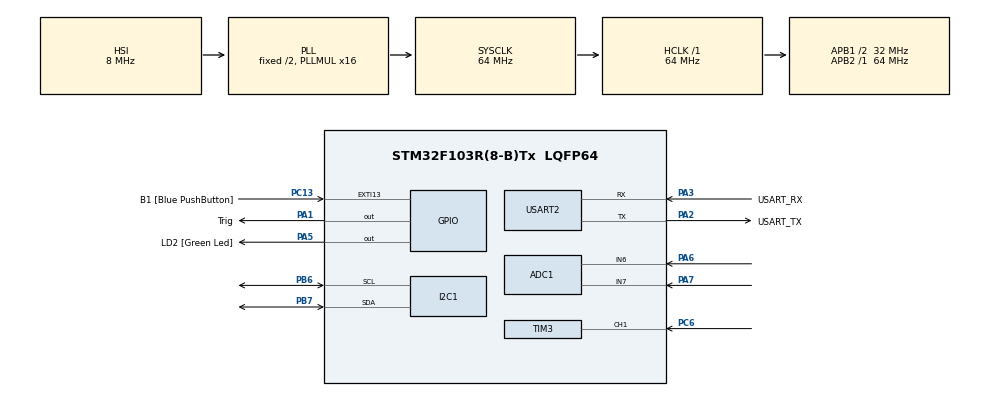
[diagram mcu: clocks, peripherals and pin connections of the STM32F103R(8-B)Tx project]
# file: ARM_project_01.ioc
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ADC1.Channel-3\#ChannelRegularConversion=ADC_CHANNEL_6
ADC1.ContinuousConvMode=DISABLE
ADC1.NbrOfConversionFlag=1
ADC1.Rank-3\#ChannelRegularConversion=1
ADC1.SamplingTime-3\#ChannelRegularConversion=ADC_SAMPLETIME_28CYCLES_5
ADC1.master=1
Dma.ADC1.0.Direction=DMA_PERIPH_TO_MEMORY
Dma.ADC1.0.Instance=DMA1_Channel1
Dma.ADC1.0.MemDataAlignment=DMA_MDATAALIGN_WORD
Dma.ADC1.0.MemInc=DMA_MINC_ENABLE
Dma.ADC1.0.Mode=DMA_CIRCULAR
Dma.ADC1.0.PeriphDataAlignment=DMA_PDATAALIGN_WORD
Dma.ADC1.0.PeriphInc=DMA_PINC_DISABLE
Dma.ADC1.0.Priority=DMA_PRIORITY_LOW
Dma.Request0=ADC1
Mcu.Family=STM32F1
Mcu.Name=STM32F103R(8-B)Tx
Mcu.Package=LQFP64
NVIC.ADC1_2_IRQn=true\:0\:0\:false\:false\:true\:true\:true\:true
NVIC.DMA1_Channel1_IRQn=true\:0\:0\:false\:false\:true\:false\:true\:true
NVIC.EXTI15_10_IRQn=true\:0\:0\:false\:false\:true\:true\:true\:true
NVIC.PriorityGroup=NVIC_PRIORITYGROUP_4
NVIC.TIM2_IRQn=true\:0\:0\:false\:false\:true\:true\:true\:true
NVIC.TIM3_IRQn=true\:0\:0\:false\:false\:true\:true\:true\:true
PA1.GPIO_Label=Trig
PA1.Signal=GPIO_Output
PA13.GPIO_Label=TMS
PA13.Mode=Serial_Wire
PA13.Signal=SYS_JTMS-SWDIO
PA14.GPIO_Label=TCK
PA14.Mode=Serial_Wire
PA14.Signal=SYS_JTCK-SWCLK
PA2.GPIO_Label=USART_TX
PA2.GPIO_Mode=GPIO_MODE_AF_PP
PA2.GPIO_PuPd=GPIO_NOPULL
PA2.GPIO_Speed=GPIO_SPEED_FREQ_LOW
PA2.Mode=Asynchronous
PA2.Signal=USART2_TX
PA3.GPIO_Label=USART_RX
PA3.GPIO_Mode=GPIO_MODE_AF_PP
PA3.GPIO_PuPd=GPIO_NOPULL
PA3.GPIO_Speed=GPIO_SPEED_FREQ_LOW
PA3.Mode=Asynchronous
PA3.Signal=USART2_RX
PA5.GPIO_Label=LD2 [Green Led]
PA5.GPIO_ModeDefaultOutputPP=GPIO_MODE_OUTPUT_PP
PA5.GPIO_PuPd=GPIO_NOPULL
PA5.GPIO_Speed=GPIO_SPEED_FREQ_LOW
PA5.Signal=GPIO_Output
PA6.Signal=ADCx_IN6
PA7.Signal=ADCx_IN7
PB3.GPIO_Label=SWO
PB3.Signal=SYS_JTDO-TRACESWO
PB6.Mode=I2C
PB6.Signal=I2C1_SCL
PB7.Mode=I2C
PB7.Signal=I2C1_SDA
PC13-TAMPER-RTC.GPIO_Label=B1 [Blue PushButton]
PC13-TAMPER-RTC.GPIO_PuPd=GPIO_NOPULL
PC13-TAMPER-RTC.Signal=GPXTI13
PC14-OSC32_IN.Mode=LSE-External-Oscillator
PC14-OSC32_IN.Signal=RCC_OSC32_IN
PC15-OSC32_OUT.Mode=LSE-External-Oscillator
PC15-OSC32_OUT.Signal=RCC_OSC32_OUT
PC6.Signal=S_TIM3_CH1
PD0-OSC_IN.Mode=HSE-External-Clock-Source
PD0-OSC_IN.Signal=RCC_OSC_IN
PD1-OSC_OUT.Mode=HSE-External-Clock-Source
PD1-OSC_OUT.Signal=RCC_OSC_OUT
ProjectManager.HeapSize=0x200
ProjectManager.StackSize=0x400
ProjectManager.TargetToolchain=STM32CubeIDE
RCC.ADCPresc=RCC_ADCPCLK2_DIV8
RCC.AHBFreq_Value=64000000
RCC.APB1CLKDivider=RCC_HCLK_DIV2
RCC.APB1Freq_Value=32000000
RCC.APB1TimFreq_Value=64000000
RCC.APB2Freq_Value=64000000
RCC.APB2TimFreq_Value=64000000
RCC.HCLKFreq_Value=64000000
RCC.PLLMUL=RCC_PLL_MUL16
RCC.RTCClockSelection=RCC_RTCCLKSOURCE_LSE
RCC.SYSCLKFreq_VALUE=64000000
RCC.SYSCLKSource=RCC_SYSCLKSOURCE_PLLCLK
RCC.USBFreq_Value=64000000
SH.ADCx_IN6.0=ADC1_IN6,IN6
SH.ADCx_IN7.0=ADC1_IN7,IN7
SH.S_TIM3_CH1.0=TIM3_CH1,Input_Capture1_from_TI1
TIM2.Prescaler=64-1
TIM3.Channel-Input_Capture1_from_TI1=TIM_CHANNEL_1
TIM3.Prescaler=64-1
USART2.VirtualMode=VM_ASYNC
VP_TIM2_VS_ClockSourceINT.Mode=Internal
VP_TIM3_VS_ClockSourceINT.Mode=Internal
board=NUCLEO-F103RB

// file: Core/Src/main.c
/* USER CODE BEGIN Header */
/**
  ******************************************************************************
  * @file           : main.c
  * @brief          : Main program body
  ******************************************************************************
  * @attention
  *
  * Copyright (c) 2022 STMicroelectronics.
  * All rights reserved.
  *
  * This software is licensed under terms that can be found in the LICENSE file
  * in the root directory of this software component.
  * If no LICENSE file comes with this software, it is provided AS-IS.
  *
  ******************************************************************************
  */
/* USER CODE END Header */
#include "main.h"

/* USER CODE BEGIN Includes */
#include <stdio.h>
#include "math.h"
/* USER CODE END Includes */

 ADC_HandleTypeDef hadc1;
DMA_HandleTypeDef hdma_adc1;

I2C_HandleTypeDef hi2c1;

TIM_HandleTypeDef htim2;
TIM_HandleTypeDef htim3;

UART_HandleTypeDef huart2;

/* USER CODE BEGIN PV */
uint32_t IC1, IC2, ic;
uint32_t adc_temperature=0;

int captureFlag=0;
float dis;
char displayDis[50];
/* USER CODE END PV */

void SystemClock_Config(void);
static void MX_GPIO_Init(void);
static void MX_USART2_UART_Init(void);
static void MX_TIM2_Init(void);
static void MX_TIM3_Init(void);
static void MX_DMA_Init(void);
static void MX_ADC1_Init(void);
static void MX_I2C1_Init(void);
/* USER CODE BEGIN PFP */
void delay_us(uint16_t delay);
void ultraSonic();
void displayDistance(float dis);

#ifdef __GNUC__
/* With GCC, small printf (option LD Linker->Libraries->Small printf
 set to 'Yes') calls __io_putchar() */
#define PUTCHAR_PROTOTYPE int __io_putchar(int ch)
#else
#define PUTCHAR_PROTOTYPE int fputc(int ch, FILE *f)
#endif /* __GNUC__ */
PUTCHAR_PROTOTYPE {
	/* Place your implementation of fputc here */
	/* e.g. write a character to the USART1 and Loop until the end of transmission */
	HAL_UART_Transmit(&huart2, (uint8_t*) &ch, 1, 0xFFFF);

	return ch;
}

/* USER CODE END PFP */

int main(void)
{

  /* MCU Configuration--------------------------------------------------------*/

  /* Reset of all peripherals, Initializes the Flash interface and the Systick. */
  HAL_Init();

  /* Configure the system clock */
  SystemClock_Config();

  /* Initialize all configured peripherals */
  MX_GPIO_Init();
  MX_USART2_UART_Init();
  MX_TIM2_Init();
  MX_TIM3_Init();
  MX_DMA_Init();
  MX_ADC1_Init();
  MX_I2C1_Init();
  /* USER CODE BEGIN 2 */
  lcd_init();

  HAL_ADC_Start(&hadc1);
  //HAL_ADC_Start_DMA(&hadc1, &adc_temperature, 1);
  HAL_TIM_IC_Start_IT(&htim3, TIM_CHANNEL_1);
  HAL_TIM_Base_Start(&htim2);
  /* USER CODE END 2 */

  /* Infinite loop */
  /* USER CODE BEGIN WHILE */
  float voltageDividerR1 = 10000;
  float BValue = 3470;
  float R1 = 5000;
  float T1 = 298.15; //25C -> kelvin
  float R2;
  float T2;

  int count = 0;
  float tempSum = 0;
  float tempMean = 0;
  float a, b, c, d;
  float e = 2.718281828; //e

  while (1)
  {
	  ultraSonic();
	  displayDistance(dis);

	  HAL_ADC_Start(&hadc1);
	  HAL_ADC_PollForConversion(&hadc1, 10);
	  adc_temperature = HAL_ADC_GetValue(&hadc1);
	  tempSum+=adc_temperature;
	  count++;

	  if(count == 10){
		  tempMean = tempSum/count;
		  R2 = (voltageDividerR1*tempMean)/(4095-tempMean);

		  a=1/T1;
		  b=(R1-R2)/R2;
		  c=b/log10(e);
		  d=c/BValue;
		  T2=1/(a-d);

		  count = 0;
	  }

	  HAL_Delay(500);
	  //printf("temperature : %.2f°C\n\r", T2-273.15);
	  printf("ADC temperature : %u\n\r", adc_temperature);
	  //printf("distance : %.2fcm\n\r", dis);
    /* USER CODE END WHILE */

  }
}

void SystemClock_Config(void)
{
  RCC_OscInitTypeDef RCC_OscInitStruct = {0};
  RCC_ClkInitTypeDef RCC_ClkInitStruct = {0};
  RCC_PeriphCLKInitTypeDef PeriphClkInit = {0};

  /** Initializes the RCC Oscillators according to the specified parameters
  * in the RCC_OscInitTypeDef structure.
  */
  RCC_OscInitStruct.OscillatorType = RCC_OSCILLATORTYPE_HSI;
  RCC_OscInitStruct.HSIState = RCC_HSI_ON;
  RCC_OscInitStruct.HSICalibrationValue = RCC_HSICALIBRATION_DEFAULT;
  RCC_OscInitStruct.PLL.PLLState = RCC_PLL_ON;
  RCC_OscInitStruct.PLL.PLLSource = RCC_PLLSOURCE_HSI_DIV2;
  RCC_OscInitStruct.PLL.PLLMUL = RCC_PLL_MUL16;
  if (HAL_RCC_OscConfig(&RCC_OscInitStruct) != HAL_OK)
  {
    Error_Handler();
  }

  /** Initializes the CPU, AHB and APB buses clocks
  */
  RCC_ClkInitStruct.ClockType = RCC_CLOCKTYPE_HCLK|RCC_CLOCKTYPE_SYSCLK
                              |RCC_CLOCKTYPE_PCLK1|RCC_CLOCKTYPE_PCLK2;
  RCC_ClkInitStruct.SYSCLKSource = RCC_SYSCLKSOURCE_PLLCLK;
  RCC_ClkInitStruct.AHBCLKDivider = RCC_SYSCLK_DIV1;
  RCC_ClkInitStruct.APB1CLKDivider = RCC_HCLK_DIV2;
  RCC_ClkInitStruct.APB2CLKDivider = RCC_HCLK_DIV1;

  if (HAL_RCC_ClockConfig(&RCC_ClkInitStruct, FLASH_LATENCY_2) != HAL_OK)
  {
    Error_Handler();
  }
  PeriphClkInit.PeriphClockSelection = RCC_PERIPHCLK_ADC;
  PeriphClkInit.AdcClockSelection = RCC_ADCPCLK2_DIV8;
  if (HAL_RCCEx_PeriphCLKConfig(&PeriphClkInit) != HAL_OK)
  {
    Error_Handler();
  }
}

static void MX_ADC1_Init(void)
{

  ADC_ChannelConfTypeDef sConfig = {0};

  /** Common config
  */
  hadc1.Instance = ADC1;
  hadc1.Init.ScanConvMode = ADC_SCAN_DISABLE;
  hadc1.Init.ContinuousConvMode = DISABLE;
  hadc1.Init.DiscontinuousConvMode = DISABLE;
  hadc1.Init.ExternalTrigConv = ADC_SOFTWARE_START;
  hadc1.Init.DataAlign = ADC_DATAALIGN_RIGHT;
  hadc1.Init.NbrOfConversion = 1;
  if (HAL_ADC_Init(&hadc1) != HAL_OK)
  {
    Error_Handler();
  }

  /** Configure Regular Channel
  */
  sConfig.Channel = ADC_CHANNEL_6;
  sConfig.Rank = ADC_REGULAR_RANK_1;
  sConfig.SamplingTime = ADC_SAMPLETIME_28CYCLES_5;
  if (HAL_ADC_ConfigChannel(&hadc1, &sConfig) != HAL_OK)
  {
    Error_Handler();
  }

}

static void MX_I2C1_Init(void)
{

  hi2c1.Instance = I2C1;
  hi2c1.Init.ClockSpeed = 100000;
  hi2c1.Init.DutyCycle = I2C_DUTYCYCLE_2;
  hi2c1.Init.OwnAddress1 = 0;
  hi2c1.Init.AddressingMode = I2C_ADDRESSINGMODE_7BIT;
  hi2c1.Init.DualAddressMode = I2C_DUALADDRESS_DISABLE;
  hi2c1.Init.OwnAddress2 = 0;
  hi2c1.Init.GeneralCallMode = I2C_GENERALCALL_DISABLE;
  hi2c1.Init.NoStretchMode = I2C_NOSTRETCH_DISABLE;
  if (HAL_I2C_Init(&hi2c1) != HAL_OK)
  {
    Error_Handler();
  }

}

static void MX_TIM2_Init(void)
{

  TIM_ClockConfigTypeDef sClockSourceConfig = {0};
  TIM_MasterConfigTypeDef sMasterConfig = {0};

  htim2.Instance = TIM2;
  htim2.Init.Prescaler = 64-1;
  htim2.Init.CounterMode = TIM_COUNTERMODE_UP;
  htim2.Init.Period = 65535;
  htim2.Init.ClockDivision = TIM_CLOCKDIVISION_DIV1;
  htim2.Init.AutoReloadPreload = TIM_AUTORELOAD_PRELOAD_DISABLE;
  if (HAL_TIM_Base_Init(&htim2) != HAL_OK)
  {
    Error_Handler();
  }
  sClockSourceConfig.ClockSource = TIM_CLOCKSOURCE_INTERNAL;
  if (HAL_TIM_ConfigClockSource(&htim2, &sClockSourceConfig) != HAL_OK)
  {
    Error_Handler();
  }
  sMasterConfig.MasterOutputTrigger = TIM_TRGO_RESET;
  sMasterConfig.MasterSlaveMode = TIM_MASTERSLAVEMODE_DISABLE;
  if (HAL_TIMEx_MasterConfigSynchronization(&htim2, &sMasterConfig) != HAL_OK)
  {
    Error_Handler();
  }

}

static void MX_TIM3_Init(void)
{

  TIM_ClockConfigTypeDef sClockSourceConfig = {0};
  TIM_MasterConfigTypeDef sMasterConfig = {0};
  TIM_IC_InitTypeDef sConfigIC = {0};

  htim3.Instance = TIM3;
  htim3.Init.Prescaler = 64-1;
  htim3.Init.CounterMode = TIM_COUNTERMODE_UP;
  htim3.Init.Period = 65535;
  htim3.Init.ClockDivision = TIM_CLOCKDIVISION_DIV1;
  htim3.Init.AutoReloadPreload = TIM_AUTORELOAD_PRELOAD_DISABLE;
  if (HAL_TIM_Base_Init(&htim3) != HAL_OK)
  {
    Error_Handler();
  }
  sClockSourceConfig.ClockSource = TIM_CLOCKSOURCE_INTERNAL;
  if (HAL_TIM_ConfigClockSource(&htim3, &sClockSourceConfig) != HAL_OK)
  {
    Error_Handler();
  }
  if (HAL_TIM_IC_Init(&htim3) != HAL_OK)
  {
    Error_Handler();
  }
  sMasterConfig.MasterOutputTrigger = TIM_TRGO_RESET;
  sMasterConfig.MasterSlaveMode = TIM_MASTERSLAVEMODE_DISABLE;
  if (HAL_TIMEx_MasterConfigSynchronization(&htim3, &sMasterConfig) != HAL_OK)
  {
    Error_Handler();
  }
  sConfigIC.ICPolarity = TIM_INPUTCHANNELPOLARITY_RISING;
  sConfigIC.ICSelection = TIM_ICSELECTION_DIRECTTI;
  sConfigIC.ICPrescaler = TIM_ICPSC_DIV1;
  sConfigIC.ICFilter = 0;
  if (HAL_TIM_IC_ConfigChannel(&htim3, &sConfigIC, TIM_CHANNEL_1) != HAL_OK)
  {
    Error_Handler();
  }

}

static void MX_USART2_UART_Init(void)
{

  huart2.Instance = USART2;
  huart2.Init.BaudRate = 115200;
  huart2.Init.WordLength = UART_WORDLENGTH_8B;
  huart2.Init.StopBits = UART_STOPBITS_1;
  huart2.Init.Parity = UART_PARITY_NONE;
  huart2.Init.Mode = UART_MODE_TX_RX;
  huart2.Init.HwFlowCtl = UART_HWCONTROL_NONE;
  huart2.Init.OverSampling = UART_OVERSAMPLING_16;
  if (HAL_UART_Init(&huart2) != HAL_OK)
  {
    Error_Handler();
  }

}

static void MX_DMA_Init(void)
{

  /* DMA controller clock enable */
  __HAL_RCC_DMA1_CLK_ENABLE();

  /* DMA interrupt init */
  /* DMA1_Channel1_IRQn interrupt configuration */
  HAL_NVIC_SetPriority(DMA1_Channel1_IRQn, 0, 0);
  HAL_NVIC_EnableIRQ(DMA1_Channel1_IRQn);

}

static void MX_GPIO_Init(void)
{
  GPIO_InitTypeDef GPIO_InitStruct = {0};

  /* GPIO Ports Clock Enable */
  __HAL_RCC_GPIOC_CLK_ENABLE();
  __HAL_RCC_GPIOD_CLK_ENABLE();
  __HAL_RCC_GPIOA_CLK_ENABLE();
  __HAL_RCC_GPIOB_CLK_ENABLE();

  /*Configure GPIO pin Output Level */
  HAL_GPIO_WritePin(GPIOA, Trig_Pin|LD2_Pin, GPIO_PIN_RESET);

  /*Configure GPIO pin : B1_Pin */
  GPIO_InitStruct.Pin = B1_Pin;
  GPIO_InitStruct.Mode = GPIO_MODE_IT_RISING;
  GPIO_InitStruct.Pull = GPIO_NOPULL;
  HAL_GPIO_Init(B1_GPIO_Port, &GPIO_InitStruct);

  /*Configure GPIO pins : Trig_Pin LD2_Pin */
  GPIO_InitStruct.Pin = Trig_Pin|LD2_Pin;
  GPIO_InitStruct.Mode = GPIO_MODE_OUTPUT_PP;
  GPIO_InitStruct.Pull = GPIO_NOPULL;
  GPIO_InitStruct.Speed = GPIO_SPEED_FREQ_LOW;
  HAL_GPIO_Init(GPIOA, &GPIO_InitStruct);

  /* EXTI interrupt init*/
  HAL_NVIC_SetPriority(EXTI15_10_IRQn, 0, 0);
  HAL_NVIC_EnableIRQ(EXTI15_10_IRQn);

}

/* USER CODE BEGIN 4 */
void delay_us(uint16_t delay){ //make ms -> us function
	//__HAL_TIM_SET_COUNTER(&htim3, 0);
	TIM3->CNT = 0;
	//while(__HAL_TIM_GET_COUNTER(&htim3) < delay);
	while(TIM3->CNT < delay);
}
void ultraSonic(){
	  HAL_GPIO_WritePin(GPIOA, Trig_Pin, GPIO_PIN_SET);
	  delay_us(10);
	  HAL_GPIO_WritePin(GPIOA, Trig_Pin, GPIO_PIN_RESET);
}
void displayDistance(float dis){
	  sprintf(displayDis, "dis : %.2fcm  ", dis);
	  lcd_put_cur(0, 0);
	  lcd_send_string(displayDis);

	  lcd_put_cur(1, 0);
	  lcd_send_string("temp : ");
}

float preTemperature(){

}
//============================================
//Interrupt function
//============================================
void HAL_TIM_IC_CaptureCallback(TIM_HandleTypeDef *htim) {
	if (htim->Channel == HAL_TIM_ACTIVE_CHANNEL_1) { //if channel is '1'
		if (captureFlag == 0) {
			IC1 = HAL_TIM_ReadCapturedValue(&htim3, TIM_CHANNEL_1);
			//IC1 = TIM2->CCR1;

			captureFlag = 1;
			__HAL_TIM_SET_CAPTUREPOLARITY(&htim3, TIM_CHANNEL_1, TIM_INPUTCHANNELPOLARITY_FALLING);

			//printf("cap!\n\r");
		}

		else if (captureFlag == 1) {
			IC2 = HAL_TIM_ReadCapturedValue(&htim3, TIM_CHANNEL_1);
			//IC2 = TIM2->CCR1;
			captureFlag = 0;
			if(IC2>IC1){
				ic = IC2 - IC1;
			}
			else{
				ic = (0xFFFF-IC1) + IC2; //uint32_t max = 0xFFFF
			}
			//freq = 1 / (ic * 0.000001); //IC1, IC2 parameters are frequency?
			//freq = 1 / ((IC2 - IC1) * psr/clk);
			dis = (ic*0.034)/2;

			__HAL_TIM_SET_COUNTER(&htim3, 0); // set counter(=CNT) 0
			__HAL_TIM_SET_CAPTUREPOLARITY(&htim3, TIM_CHANNEL_1, TIM_INPUTCHANNELPOLARITY_RISING);
			//TIM3->CCER &= ~(1<< 1);

			//printf("ic1 : %u, ic2 : %u\n\r", IC1, IC2);
			printf("t_us : %u\n\r", ic);
		}
	}
}

/* USER CODE END 4 */

void Error_Handler(void)
{
  __disable_irq();
  while (1)
  {
  }
}
